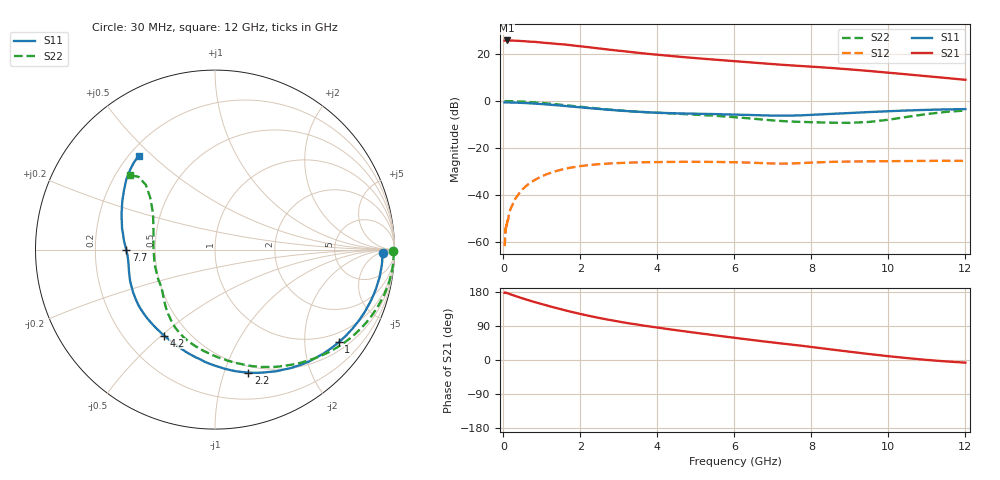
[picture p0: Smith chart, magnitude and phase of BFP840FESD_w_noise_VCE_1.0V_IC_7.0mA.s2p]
! Infineon Technologies  Discrete & RF Semiconductors
! BFP840FESD
! VCE =  1.0 V,  IC =  7.0 mA
! Common Emitter S-Parameters:  May 2012
# GHz  S  MA  R  50
!  f  S11  S21  S12  S22
! GHz  MAG  ANG  MAG  ANG  MAG  ANG  MAG  ANG
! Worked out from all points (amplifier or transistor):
!   103 points, 30 MHz to 12 GHz, reference 50 ohm
!   highest |S21| = 25.9 dB at 80 MHz (marker M1)
!   |S21| within 3 dB of that: start of sweep to 2.273 GHz
!   unconditionally stable (mu >= 1): 6.747 GHz to end of sweep
!   at 400 MHz: K = 0.05, MSG = 32.6 dB, |S12| = -39.6 dB
!   at 3.7 GHz: K = 0.44, MSG = 23.2 dB, |S12| = -26.1 dB
!   at 12 GHz: K = 1.26, MAG = 14.3 dB, |S12| = -25.5 dB
!   lowest NFmin = 0.59 dB at 450 MHz
!   S11 on the Smith chart (normalised r, x): 30 MHz: 27, -8; 1 GHz: 0.71, -2.85; 2.2 GHz: 0.44, -1.21; 4.2 GHz: 0.37, -0.51; 7.7 GHz: 0.34, +0.00; 12 GHz: 0.24, +0.45
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0.03  0.9348 -1.1  19.48 177.2  0.0008 97.0  0.9911 -0.6
0.04  0.935 -1.5  19.51 177.0  0.001 89.4  0.9932 -0.9
0.05  0.9342 -1.9  19.61 178.1  0.0019 109.8  0.9944 -1.3
0.08  0.9333 -3.1  19.64 177.0  0.0023 82.8  0.9951 -2.4
0.25  0.9298 -9.6  19.49 171.1  0.0065 82.3  0.9914 -8.0
0.5  0.9122 -18.9  19.01 162.5  0.0132 77.4  0.9721 -16.1
0.8  0.8835 -29.9  18.36 153.2  0.0204 70.2  0.9378 -25.3
1  0.8617 -36.8  17.7 147.5  0.0249 65.4  0.9102 -31.3
1.3  0.8246 -47.0  16.85 139.1  0.0308 58.5  0.8649 -40.0
1.6  0.7845 -57.2  16.12 131.1  0.0357 52.3  0.8165 -48.4
2.1  0.7216 -72.1  14.45 119.2  0.0418 42.9  0.7409 -61.6
2.2  0.71 -74.9  14.12 117.0  0.0429 41.3  0.7276 -64.1
2.6  0.666 -85.4  12.91 108.7  0.0456 35.4  0.6772 -73.1
3.1  0.6174 -97.5  11.64 99.5  0.0479 29.5  0.6256 -82.9
4.1  0.5604 -118.5  9.565 84.2  0.05 21.4  0.5574 -99.2
4.2  0.5563 -120.5  9.396 82.7  0.0502 20.8  0.5519 -100.5
5  0.5363 -135.6  8.241 71.7  0.0504 16.5  0.5115 -111.3
6.1  0.5111 -154.2  7.005 57.3  0.0493 12.2  0.4461 -125.5
7.7  0.4946 180.0  5.614 38.2  0.0473 15.8  0.3594 -149.0
8.5  0.5315 167.0  5.091 28.0  0.0503 15.6  0.3456 -167.4
10.5  0.6302 141.6  3.702 4.9  0.0525 14.1  0.4621 141.3
12  0.6729 129.3  2.84 -7.0  0.0529 15.7  0.6283 138.7
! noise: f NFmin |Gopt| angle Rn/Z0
0.45  0.59  0.44  5  0.15
0.9  0.62  0.42  12  0.16
1.5  0.64  0.38  18  0.15
1.9  0.65  0.34  26  0.15
2.4  0.67  0.32  33  0.15
3.5  0.68  0.31  55  0.15
5.5  0.75  0.21  94  0.12
8  0.89  0.18  153  0.11
10  1.04  0.24  -145  0.11
12  1.25  0.41  -120  0.13
